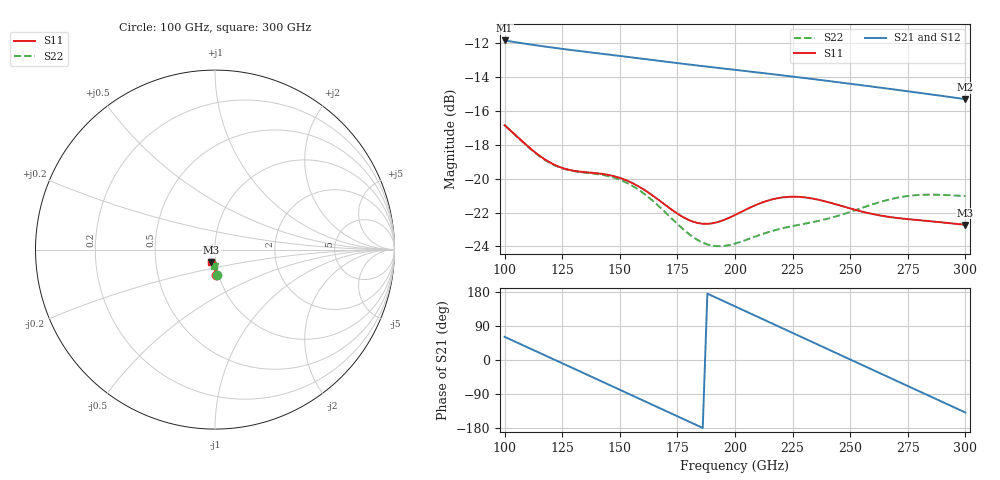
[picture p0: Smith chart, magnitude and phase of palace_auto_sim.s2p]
#  GHZ S DB R 50
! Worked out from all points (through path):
!   101 points, 100 GHz to 300 GHz, reference 50 ohm
!   highest |S21| = -11.82 dB at 100 GHz (marker M1); lowest = -15.3 dB at 300 GHz (marker M2)
!   group delay of S21, straight-line fit = 7.78 ps
!   lowest |S11| = -22.7 dB at 300 GHz (marker M3), VSWR 1.16, Z = 47.5 - j6.67 ohm
!   |S11| at or under -10 dB: start of sweep to end of sweep
!   |S22| runs from -24.0 to -16.8 dB; largest |S21 - S12| = 2.4e-13
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100  -16.84 -87.5  -11.82 61.1  -11.82 61.1  -16.83 -85.2
110  -18.07 -89.9  -12.04 33.2  -12.04 33.2  -18.09 -87.4
118  -18.91 -89.5  -12.19 10.9  -12.19 10.9  -18.94 -86.8
126  -19.40 -88.2  -12.34 -11.4  -12.34 -11.4  -19.43 -85.5
134  -19.60 -87.7  -12.47 -33.7  -12.47 -33.7  -19.63 -85.2
144  -19.75 -89.6  -12.64 -61.7  -12.64 -61.7  -19.82 -87.6
152  -20.05 -92.5  -12.77 -84.1  -12.77 -84.1  -20.18 -90.8
160  -20.61 -95.2  -12.91 -106.5  -12.91 -106.5  -20.83 -94.1
168  -21.37 -96.4  -13.04 -128.9  -13.04 -128.9  -21.76 -95.9
176  -22.15 -95.0  -13.18 -151.3  -13.18 -151.3  -22.80 -94.9
184  -22.63 -91.3  -13.31 -173.7  -13.31 -173.7  -23.64 -90.9
192  -22.58 -87.1  -13.44 163.9  -13.44 163.9  -23.99 -85.2
200  -22.15 -85.0  -13.56 141.5  -13.56 141.5  -23.84 -80.5
208  -21.62 -85.5  -13.69 119.1  -13.69 119.1  -23.46 -77.9
216  -21.23 -88.2  -13.81 96.7  -13.81 96.7  -23.10 -77.2
224  -21.07 -91.8  -13.94 74.2  -13.94 74.2  -22.83 -77.3
234  -21.18 -96.4  -14.11 46.2  -14.11 46.2  -22.56 -77.5
250  -21.76 -101.1  -14.38 1.3  -14.38 1.3  -21.96 -78.2
258  -22.04 -102.2  -14.52 -21.1  -14.52 -21.1  -21.59 -79.7
268  -22.28 -103.1  -14.70 -49.1  -14.70 -49.1  -21.20 -82.7
284  -22.51 -104.8  -14.99 -93.8  -14.99 -93.8  -20.94 -88.9
300  -22.73 -106.9  -15.29 -138.6  -15.29 -138.6  -21.02 -93.8
